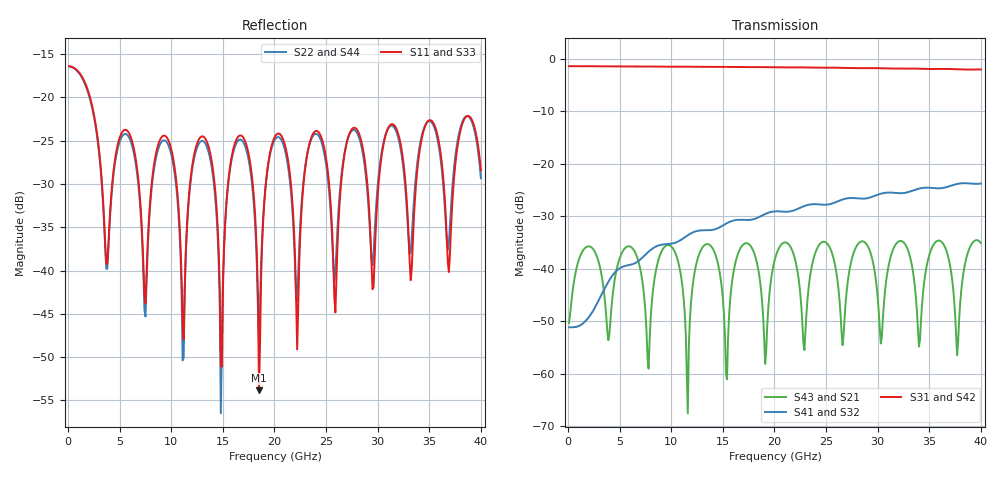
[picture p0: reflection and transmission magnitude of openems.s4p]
! T_ts6_broadside_o5: Broadside: In2 over In3 across the 0.93 mm core, lateral offset 0.5 mm, 20 mm
! stackup: ThunderScope Rev5.3 6-layer (FR408HR / FR-4, from the board file)
! ports: 1 near A, 2 near B, 3 far A, 4 far B
! openEMS 0.37.0, staircase, fine mesh (dfine 0.0175 mm), 1143100 cells
# Hz S RI R 50
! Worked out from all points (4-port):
!   400 points, 100 MHz to 40 GHz, reference 50 ohm
!   strongest paths, dB at 100 MHz, 10.1 GHz, 20.1 GHz, 30.1 GHz, 40 GHz:
!     S31: -1.4, -1.5, -1.7, -1.8, -2.0
!     S42: -1.4, -1.5, -1.7, -1.9, -2.1
!     S41: -51.2, -35.2, -29.1, -25.8, -23.8
!     S32: -51.1, -35.2, -29.1, -25.9, -23.8
!     S43: -50.3, -36.0, -37.8, -48.0, -35.1
!     S21: -50.3, -36.0, -37.8, -48.0, -35.1
!   lowest |S11| = -53.8 dB at 18.5 GHz (marker M1), VSWR 1.00, Z = 50.1 + j0.158 ohm
!   |S11| at or under -10 dB: start of sweep to end of sweep
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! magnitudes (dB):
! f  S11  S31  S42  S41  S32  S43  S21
! 100 MHz  -16.4  -1.4  -1.4  -51.2  -51.1  -50.3  -50.3
! 13.4 GHz  -25.0  -1.6  -1.6  -32.7  -32.7  -35.3  -35.3
! 14.8 GHz  -51.0  -1.6  -1.6  -32.0  -32.0  -42.1  -42.1
! 17 GHz  -24.7  -1.6  -1.6  -30.7  -30.7  -35.3  -35.3
! 18.5 GHz  -53.8  -1.6  -1.6  -30.2  -30.2  -41.0  -41.0
! 20.2 GHz  -24.3  -1.7  -1.7  -29.1  -29.1  -37.2  -37.2
! 40 GHz  -28.5  -2.0  -2.1  -23.8  -23.8  -35.1  -35.1
